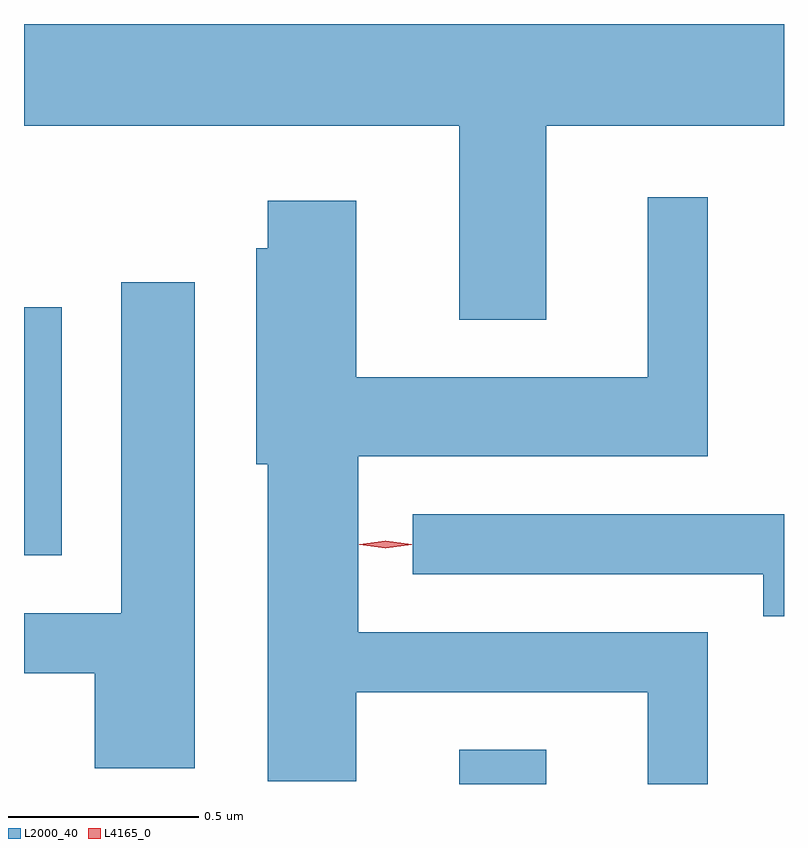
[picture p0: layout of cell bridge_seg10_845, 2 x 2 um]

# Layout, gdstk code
import gdstk
lib = gdstk.Library(unit=1e-6, precision=1e-09)
def R(c, l, rs):  # rectangles x0, y0, x1, y1
    for r in rs: c.add(gdstk.rectangle(r[:2], r[2:], *l))
def P(c, l, *ps):  # polygons
    for p in ps: c.add(gdstk.Polygon(p, *l))
L2000_40 = (2000, 40)
L4165_0 = (4165, 0)

bridge_seg10_845 = lib.new_cell('bridge_seg10_845')
R(bridge_seg10_845, L2000_40, [(204.331,2205.424,204.559,2205.514), (203.185,2206.026,203.284,2206.679)])
P(bridge_seg10_845, L2000_40, [(204.559,2207.156),(205.185,2207.156),(205.185,2207.424),(203.185,2207.424),(203.185,2207.156),(204.331,2207.156),(204.331,2206.646),(204.559,2206.646)],
  [(204.984,2205.824),(204.064,2205.824),(204.064,2206.286),(204.984,2206.286),(204.984,2206.968),(204.826,2206.968),(204.826,2206.494),(204.059,2206.494),(204.059,2206.959),(203.826,2206.959),(203.826,2206.834),(203.796,2206.834),(203.796,2206.266),(203.826,2206.266),(203.826,2205.431),(204.059,2205.431),(204.059,2205.666),(204.826,2205.666),(204.826,2205.424),(204.984,2205.424)],
  [(203.634,2206.744),(203.441,2206.744),(203.441,2205.874),(203.185,2205.874),(203.185,2205.716),(203.371,2205.716),(203.371,2205.466),(203.634,2205.466)],
  [(205.185,2206.134),(204.208,2206.134),(204.208,2205.976),(205.131,2205.976),(205.131,2205.866),(205.185,2205.866)])
P(bridge_seg10_845, L4165_0, [(204.137,2206.044),(204.067,2206.054),(204.067,2206.054),(204.067,2206.055),(204.137,2206.064),(204.206,2206.055),(204.206,2206.054),(204.206,2206.054)],
  [(204.136,2206.044),(204.07,2206.053),(204.069,2206.053),(204.07,2206.054),(204.136,2206.064),(204.202,2206.054),(204.203,2206.053),(204.202,2206.053)])

lib.write_gds('bridge_seg10_845.gds')
